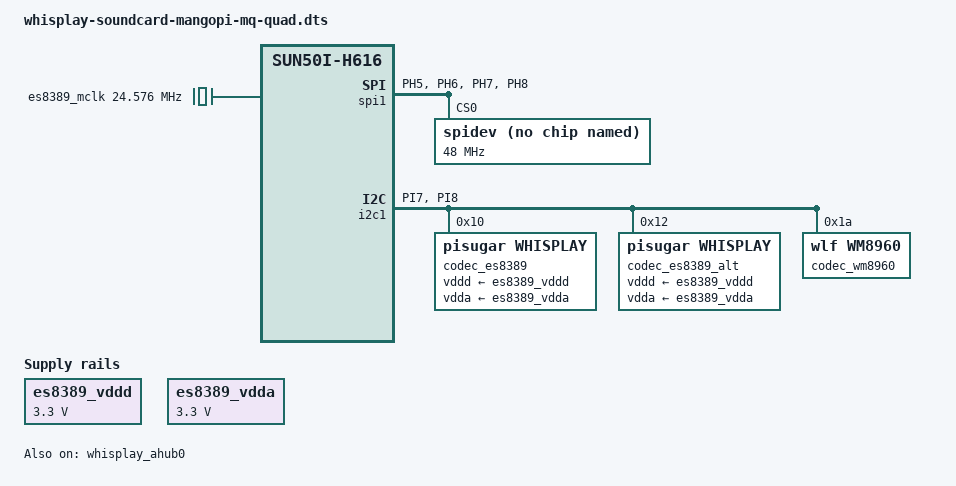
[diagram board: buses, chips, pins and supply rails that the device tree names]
/*
 * Whisplay overlay for MangoPi MQ Quad (Allwinner H616).
 *
 * Header wiring:
 *   PIN_3  SDA  -> I2C1_SDA (PI8)
 *   PIN_5  SCL  -> I2C1_SCL (PI7)
 *   PIN_12 BCLK -> I2S0_BCLK (PI1)
 *   PIN_35 LRCK -> I2S0_LRCK (PI2)
 *   PIN_38 SDI  -> I2S0_DIN0 (PI4)
 *   PIN_40 SDO  -> I2S0_DOUT0 (PI3)
 *   PIN_19 MOSI -> SPI1_MOSI (PH7)
 *   PIN_21 MISO -> SPI1_MISO (PH8)
 *   PIN_23 SCLK -> SPI1_CLK  (PH6)
 *   PIN_24 CS0  -> SPI1_CS0  (PH5)
 */

/dts-v1/;
/plugin/;

/ {
	compatible = "allwinner,sun50i-h616";

	fragment@0 {
		target = <&pio>;
		__overlay__ {
			whisplay_i2c1_pins: whisplay-i2c1-pins {
				pins = "PI7", "PI8";
				function = "i2c1";
				bias-disable;
			};

			whisplay_i2s0_clk_pins: whisplay-i2s0-clk-pins {
				pins = "PI1", "PI2";
				function = "i2s0";
				drive-strength = <20>;
				bias-disable;
			};

			whisplay_i2s0_dout_pin: whisplay-i2s0-dout-pin {
				pins = "PI3";
				function = "i2s0_dout0";
				drive-strength = <20>;
				bias-disable;
			};

			whisplay_i2s0_din_pin: whisplay-i2s0-din-pin {
				pins = "PI4";
				function = "i2s0_din0";
				drive-strength = <20>;
				bias-disable;
			};

			whisplay_spi1_pins: whisplay-spi1-pins {
				pins = "PH5", "PH6", "PH7", "PH8";
				function = "spi1";
				drive-strength = <20>;
				bias-disable;
			};
		};
	};

	fragment@1 {
		target = <&spi1>;
		__overlay__ {
			pinctrl-names = "default";
			pinctrl-0 = <&whisplay_spi1_pins>;
			status = "okay";
			#address-cells = <1>;
			#size-cells = <0>;

			spidev@0 {
				compatible = "rohm,dh2228fv";
				reg = <0>;
				spi-max-frequency = <48000000>;
				status = "okay";
			};
		};
	};

	fragment@2 {
		target-path = "/soc";
		__overlay__ {
			#address-cells = <1>;
			#size-cells = <1>;

			/*
			 * Orange Pi OS 3.0.8's 5.16.17 H616 kernel does not
			 * include sunxi-snd-plat-ahub.  Its external TDM DAIs use
			 * the vendor sunxi-ahub-daudio binding instead.
			 */
			whisplay_ahub0: whisplay-ahub0@5097000 {
				#sound-dai-cells = <0>;
				compatible = "allwinner,sunxi-ahub-daudio";
				reg = <0x05097000 0xadf>;
				clocks = <&ccu 0x5f>, <&ccu 0x5b>,
					 <&ccu 0x5c>, <&ccu 0x5e>;
				clock-names = "apb", "audio-codec-1x",
					      "audio-codec-4x", "audio-hub";
				tdm_num = <0>;
				pinconfig = <1>;
				mclk_div = <1>;
				pcm_lrck_period = <32>;
				slot_width_select = <32>;
				frametype = <0>;
				tdm_config = <1>;
				signal_inversion = <1>;
				daudio_master = <4>;
				audio_format = <1>;
				pinctrl-names = "default";
				pinctrl-0 = <&whisplay_i2s0_clk_pins
					     &whisplay_i2s0_dout_pin
					     &whisplay_i2s0_din_pin>;
				status = "okay";
			};
		};
	};

	fragment@3 {
		target-path = "/";
		__overlay__ {
			es8389_mclk: es8389-mclk {
				compatible = "fixed-clock";
				#clock-cells = <0>;
				clock-frequency = <24576000>;
				clock-output-names = "es8389-mclk";
			};

			es8389_vddd: es8389-vddd {
				compatible = "regulator-fixed";
				regulator-name = "es8389-vddd";
				regulator-min-microvolt = <3300000>;
				regulator-max-microvolt = <3300000>;
				regulator-always-on;
			};

			es8389_vdda: es8389-vdda {
				compatible = "regulator-fixed";
				regulator-name = "es8389-vdda";
				regulator-min-microvolt = <3300000>;
				regulator-max-microvolt = <3300000>;
				regulator-always-on;
			};

			whisplay_sound: whisplay-sound {
				compatible = "pisugar,whisplay-soundcard";
				i2s-controller = <&ahub_cpudai0>;
				whisplay,ahub-daudio = <&whisplay_ahub0>;
				whisplay,es8389-codec = <&codec_es8389>;
				whisplay,es8389-sysclk = <24576000>;
				whisplay,wm8960-codec = <&codec_wm8960>;
				whisplay,wm8960-sysclk = <24000000>;
				whisplay,sunxi-h616-ahub;
				whisplay,h616-vendor-dma;
				whisplay,force-48k;
				whisplay,no-continuous-clock;
				status = "okay";
			};
		};
	};

	fragment@4 {
		target = <&i2c1>;
		__overlay__ {
			pinctrl-names = "default";
			pinctrl-0 = <&whisplay_i2c1_pins>;
			#address-cells = <1>;
			#size-cells = <0>;
			status = "okay";

			codec_es8389: whisplay@10 {
				compatible = "pisugar,whisplay";
				reg = <0x10>;
				#sound-dai-cells = <0>;
				clocks = <&es8389_mclk>;
				clock-names = "mclk";
				vddd-supply = <&es8389_vddd>;
				vdda-supply = <&es8389_vdda>;
				everest,mclk-src = /bits/ 8 <0x40>;
				status = "okay";
			};

			/*
			 * ES8389 may sample its address-select pin as 0x12 after a
			 * warm reset.  Keep both possible clients instantiated; only
			 * the address which acknowledges will bind to the driver.
			 */
			codec_es8389_alt: whisplay@12 {
				compatible = "pisugar,whisplay";
				reg = <0x12>;
				#sound-dai-cells = <0>;
				clocks = <&es8389_mclk>;
				clock-names = "mclk";
				vddd-supply = <&es8389_vddd>;
				vdda-supply = <&es8389_vdda>;
				everest,mclk-src = /bits/ 8 <0x40>;
				status = "okay";
			};

			codec_wm8960: wm8960@1a {
				compatible = "wlf,wm8960";
				reg = <0x1a>;
				#sound-dai-cells = <0>;
				wlf,shared-lrclk;
				status = "okay";
			};
		};
	};

	/* The Whisplay card owns APBIF0; avoid a second machine card binding it. */
	fragment@5 {
		target = <&sndahub>;
		__overlay__ {
			status = "disabled";
		};
	};
};
